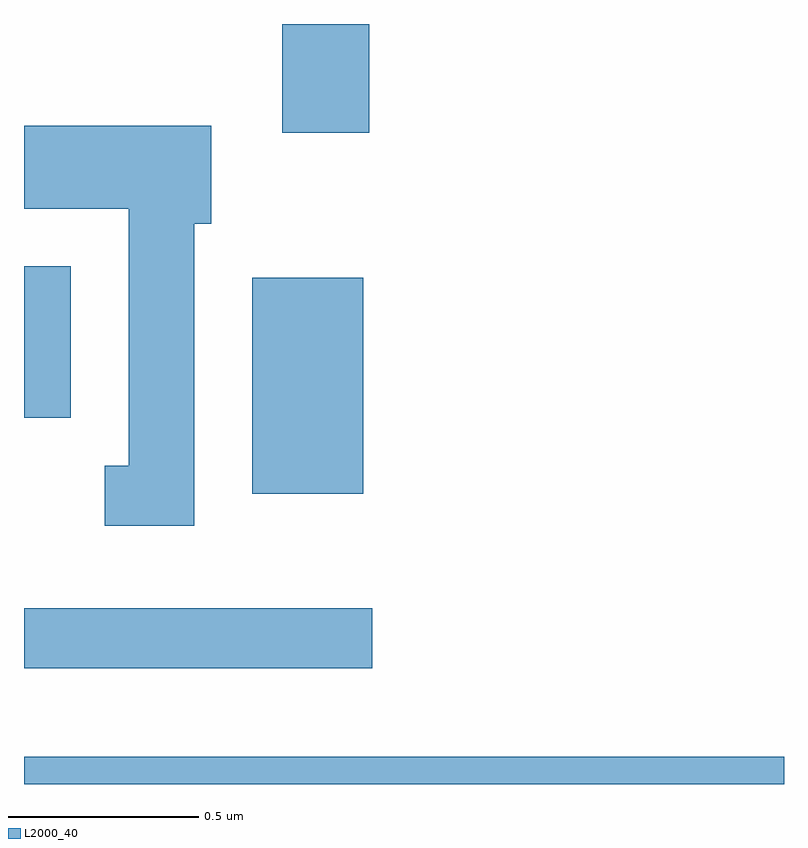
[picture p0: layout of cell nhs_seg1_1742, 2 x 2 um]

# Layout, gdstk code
import gdstk
lib = gdstk.Library(unit=1e-6, precision=1e-09)
def R(c, l, rs):  # rectangles x0, y0, x1, y1
    for r in rs: c.add(gdstk.rectangle(r[:2], r[2:], *l))
def P(c, l, *ps):  # polygons
    for p in ps: c.add(gdstk.Polygon(p, *l))
L2000_40 = (2000, 40)

nhs_seg1_1742 = lib.new_cell('nhs_seg1_1742')
R(nhs_seg1_1742, L2000_40, [(197.611,959.712,199.611,959.784), (197.611,960.016,198.528,960.174), (198.211,960.476,198.504,961.044), (197.611,960.676,197.734,961.074), (198.291,961.426,198.519,961.712)])
P(nhs_seg1_1742, L2000_40, [(198.059,961.186),(198.104,961.186),(198.104,961.444),(197.611,961.444),(197.611,961.226),(197.886,961.226),(197.886,960.549),(197.823,960.549),(197.823,960.391),(198.059,960.391)])

lib.write_gds('nhs_seg1_1742.gds')
